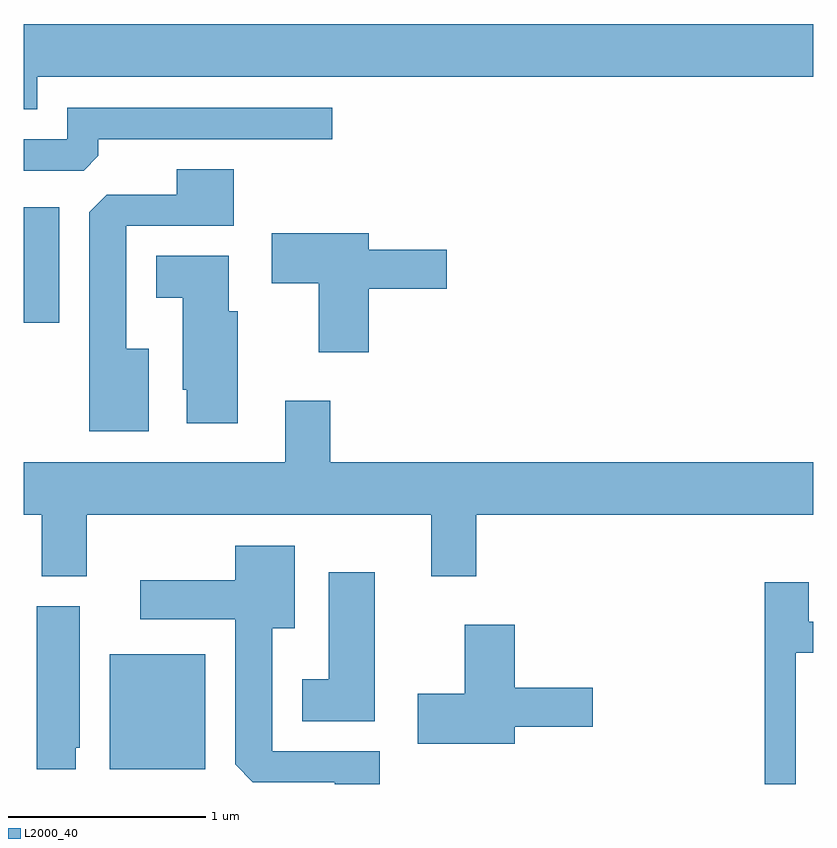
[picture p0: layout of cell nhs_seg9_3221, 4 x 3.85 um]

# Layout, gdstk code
import gdstk
lib = gdstk.Library(unit=1e-6, precision=1e-09)
def R(c, l, rs):  # rectangles x0, y0, x1, y1
    for r in rs: c.add(gdstk.rectangle(r[:2], r[2:], *l))
def P(c, l, *ps):  # polygons
    for p in ps: c.add(gdstk.Polygon(p, *l))
L2000_40 = (2000, 40)

nhs_seg9_3221 = lib.new_cell('nhs_seg9_3221')
R(nhs_seg9_3221, L2000_40, [(280.046,2010.506,280.529,2011.089), (279.611,2012.771,279.789,2013.354)])
P(nhs_seg9_3221, L2000_40, [(279.679,2014.016),(283.611,2014.016),(283.611,2014.284),(279.611,2014.284),(279.611,2013.851),(279.679,2013.851)],
  [(279.989,2013.617),(279.989,2013.701),(281.173,2013.701),(281.173,2013.859),(279.831,2013.859),(279.831,2013.699),(279.611,2013.699),(279.611,2013.541),(279.914,2013.541)],
  [(280.244,2012.639),(280.129,2012.639),(280.129,2013.261),(280.674,2013.261),(280.674,2013.549),(280.386,2013.549),(280.386,2013.419),(280.032,2013.419),(279.941,2013.329),(279.941,2012.221),(280.244,2012.221)],
  [(281.359,2012.941),(281.754,2012.941),(281.754,2013.139),(281.359,2013.139),(281.359,2013.224),(280.866,2013.224),(280.866,2012.971),(281.106,2012.971),(281.106,2012.621),(281.359,2012.621)],
  [(280.694,2012.829),(280.649,2012.829),(280.649,2013.109),(280.281,2013.109),(280.281,2012.896),(280.416,2012.896),(280.416,2012.431),(280.436,2012.431),(280.436,2012.261),(280.694,2012.261)],
  [(279.929,2011.796),(281.676,2011.796),(281.676,2011.486),(281.904,2011.486),(281.904,2011.796),(283.611,2011.796),(283.611,2012.064),(281.164,2012.064),(281.164,2012.374),(280.936,2012.374),(280.936,2012.064),(279.611,2012.064),(279.611,2011.796),(279.701,2011.796),(279.701,2011.486),(279.929,2011.486)],
  [(281.414,2010.599),(280.869,2010.599),(280.869,2011.221),(280.984,2011.221),(280.984,2011.639),(280.681,2011.639),(280.681,2011.464),(280.201,2011.464),(280.201,2011.266),(280.681,2011.266),(280.681,2010.532),(280.772,2010.441),(281.186,2010.441),(281.186,2010.432),(281.414,2010.432)],
  [(281.389,2011.504),(281.156,2011.504),(281.156,2010.964),(281.021,2010.964),(281.021,2010.751),(281.389,2010.751)],
  [(283.524,2011.096),(283.611,2011.096),(283.611,2011.254),(283.589,2011.254),(283.589,2011.454),(283.366,2011.454),(283.366,2010.432),(283.524,2010.432)],
  [(279.874,2010.616),(279.894,2010.616),(279.894,2011.334),(279.676,2011.334),(279.676,2010.506),(279.874,2010.506)],
  [(282.099,2010.721),(282.494,2010.721),(282.494,2010.919),(282.099,2010.919),(282.099,2011.239),(281.846,2011.239),(281.846,2010.889),(281.606,2010.889),(281.606,2010.636),(282.099,2010.636)])

lib.write_gds('nhs_seg9_3221.gds')
